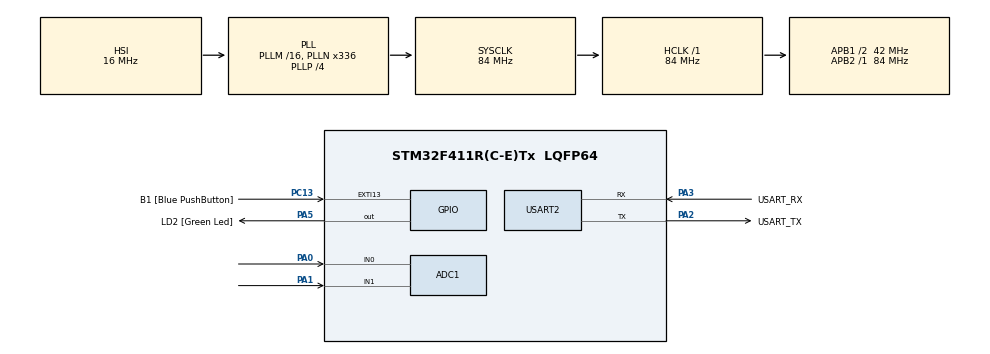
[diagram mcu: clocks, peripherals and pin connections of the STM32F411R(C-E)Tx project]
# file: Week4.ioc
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Mcu.Family=STM32F4
RCC.CortexFreq_Value=84000000
VP_ADC1_TempSens_Input.Mode=IN-TempSens
ADC1.ContinuousConvMode=ENABLE
PA14.GPIO_Label=TCK
RCC.SYSCLKSource=RCC_SYSCLKSOURCE_PLLCLK
ProjectManager.StackSize=0x400
NVIC.ADC_IRQn=true\:0\:0\:false\:false\:true\:true\:true
PH0\ -\ OSC_IN.Signal=RCC_OSC_IN
ADC1.Channel-3\#ChannelRegularConversion=ADC_CHANNEL_VREFINT
RCC.HCLKFreq_Value=84000000
RCC.APB2TimFreq_Value=84000000
Dma.ADC1.0.Direction=DMA_PERIPH_TO_MEMORY
ADC1.Channel-2\#ChannelRegularConversion=ADC_CHANNEL_TEMPSENSOR
ADC1.InjNumberOfConversion=0
NVIC.DMA2_Stream0_IRQn=true\:0\:0\:false\:false\:true\:false\:true
Dma.ADC1.0.MemDataAlignment=DMA_MDATAALIGN_WORD
RCC.AHBFreq_Value=84000000
NVIC.EXTI15_10_IRQn=true\:0\:0\:false\:false\:true\:true\:true
ADC1.Channel-0\#ChannelRegularConversion=ADC_CHANNEL_0
RCC.HSE_VALUE=8000000
ADC1.ScanConvMode=ENABLE
PC13-ANTI_TAMP.Signal=GPXTI13
VP_ADC1_Vref_Input.Mode=IN-Vrefint
ADC1.Rank-2\#ChannelRegularConversion=3
PC14-OSC32_IN.Mode=LSE-External-Oscillator
PA14.Mode=Serial_Wire
Dma.ADC1.0.PeriphInc=DMA_PINC_DISABLE
SH.ADCx_IN0.0=ADC1_IN0,IN0
ADC1.SamplingTime-0\#ChannelRegularConversion=ADC_SAMPLETIME_480CYCLES
RCC.FLatency-AdvancedSettings=FLASH_LATENCY_2
Mcu.Package=LQFP64
USART2.VirtualMode=VM_ASYNC
PA2.GPIO_Label=USART_TX
SH.ADCx_IN1.0=ADC1_IN1,IN1
RCC.APB1TimFreq_Value=84000000
Dma.ADC1.0.FIFOMode=DMA_FIFOMODE_DISABLE
Dma.Request0=ADC1
PA3.Signal=USART2_RX
PB3.GPIO_Label=SWO
PC15-OSC32_OUT.Mode=LSE-External-Oscillator
Dma.ADC1.0.Instance=DMA2_Stream0
ADC1.Rank-0\#ChannelRegularConversion=1
PC13-ANTI_TAMP.GPIO_PuPd=GPIO_PULLUP
PC13-ANTI_TAMP.GPIO_Label=B1 [Blue PushButton]
PH1\ -\ OSC_OUT.Mode=HSE-External-Clock-Source
RCC.APB1CLKDivider=RCC_HCLK_DIV2
PC14-OSC32_IN.Signal=RCC_OSC32_IN
ADC1.SamplingTime-2\#ChannelRegularConversion=ADC_SAMPLETIME_480CYCLES
PA0-WKUP.Signal=ADCx_IN0
PA13.Signal=SYS_JTMS-SWDIO
PA3.Mode=Asynchronous
Dma.ADC1.0.PeriphDataAlignment=DMA_PDATAALIGN_WORD
PH0\ -\ OSC_IN.Mode=HSE-External-Clock-Source
ProjectManager.TargetToolchain=STM32CubeIDE
Dma.ADC1.0.Mode=DMA_CIRCULAR
Dma.ADC1.0.Priority=DMA_PRIORITY_LOW
ADC1.Channel-1\#ChannelRegularConversion=ADC_CHANNEL_1
PC15-OSC32_OUT.Signal=RCC_OSC32_OUT
PA1.Signal=ADCx_IN1
PA5.Signal=GPIO_Output
PH1\ -\ OSC_OUT.Signal=RCC_OSC_OUT
board=NUCLEO-F411RE
RCC.VCOOutputFreq_Value=336000000
RCC.APB2Freq_Value=84000000
ADC1.DMAContinuousRequests=ENABLE
ADC1.NbrOfConversion=4
PA13.Mode=Serial_Wire
Mcu.Name=STM32F411R(C-E)Tx
PA13.GPIO_Label=TMS
PA2.Signal=USART2_TX
ADC1.ExternalTrigConv=ADC_SOFTWARE_START
RCC.48MHZClocksFreq_Value=84000000
PB3.Signal=SYS_JTDO-SWO
ADC1.SamplingTime-1\#ChannelRegularConversion=ADC_SAMPLETIME_480CYCLES
RCC.SYSCLKFreq_VALUE=84000000
ADC1.master=1
PA5.GPIO_Label=LD2 [Green Led]
ADC1.Rank-3\#ChannelRegularConversion=4
ADC1.SamplingTime-3\#ChannelRegularConversion=ADC_SAMPLETIME_480CYCLES
ADC1.Rank-1\#ChannelRegularConversion=2
PC13-ANTI_TAMP.GPIO_ModeDefaultEXTI=GPIO_MODE_IT_RISING_FALLING
PA14.Signal=SYS_JTCK-SWCLK
Dma.ADC1.0.MemInc=DMA_MINC_ENABLE
ProjectManager.HeapSize=0x200
RCC.HSI_VALUE=16000000
RCC.PLLP=RCC_PLLP_DIV4
NVIC.PriorityGroup=NVIC_PRIORITYGROUP_0
ADC1.NbrOfConversionFlag=1
RCC.PLLN=336
PA2.Mode=Asynchronous
RCC.APB1Freq_Value=42000000
PA3.GPIO_Label=USART_RX

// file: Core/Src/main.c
/* USER CODE BEGIN Header */
/**
  ******************************************************************************
  * @file           : main.c
  * @brief          : Main program body
  ******************************************************************************
  * @attention
  *
  * <h2><center>&copy; Copyright (c) 2021 STMicroelectronics.
  * All rights reserved.</center></h2>
  *
  * This software component is licensed by ST under BSD 3-Clause license,
  * the "License"; You may not use this file except in compliance with the
  * License. You may obtain a copy of the License at:
  *                        opensource.org/licenses/BSD-3-Clause
  *
  ******************************************************************************
  */
/* USER CODE END Header */
#include "main.h"

ADC_HandleTypeDef hadc1;
DMA_HandleTypeDef hdma_adc1;

UART_HandleTypeDef huart2;

/* USER CODE BEGIN PV */

uint32_t ADCData[4] = {0};
uint32_t GetData[2] = {0};
uint32_t ref = 0;
uint32_t TimeStamp = 0;
uint32_t push = 0;
uint32_t mode = 0;

/* USER CODE END PV */

void SystemClock_Config(void);
static void MX_GPIO_Init(void);
static void MX_DMA_Init(void);
static void MX_USART2_UART_Init(void);
static void MX_ADC1_Init(void);

int main(void)
{

  /* MCU Configuration--------------------------------------------------------*/

  /* Reset of all peripherals, Initializes the Flash interface and the Systick. */
  HAL_Init();

  /* Configure the system clock */
  SystemClock_Config();

  /* Initialize all configured peripherals */
  MX_GPIO_Init();
  MX_DMA_Init();
  MX_USART2_UART_Init();
  MX_ADC1_Init();
  /* USER CODE BEGIN 2 */
  HAL_ADC_Start_DMA(&hadc1, ADCData, 4);
  /* USER CODE END 2 */

  /* Infinite loop */
  /* USER CODE BEGIN WHILE */
  while (1)
  {
	  GetData[1] = ADCData[1];
	  GetData[0] = ADCData[0];
    /* USER CODE END WHILE */

    /* USER CODE BEGIN 3 */

	  if(mode == 1)
	  {
		  if(HAL_GetTick() - TimeStamp >= ref)
		  {
			  HAL_GPIO_WritePin(LD2_GPIO_Port, LD2_Pin, GPIO_PIN_SET);
			  TimeStamp = HAL_GetTick();
			  mode = 2;
		  }
	  }
  }
  /* USER CODE END 3 */
}

void SystemClock_Config(void)
{
  RCC_OscInitTypeDef RCC_OscInitStruct = {0};
  RCC_ClkInitTypeDef RCC_ClkInitStruct = {0};

  /** Configure the main internal regulator output voltage
  */
  __HAL_RCC_PWR_CLK_ENABLE();
  __HAL_PWR_VOLTAGESCALING_CONFIG(PWR_REGULATOR_VOLTAGE_SCALE1);
  /** Initializes the RCC Oscillators according to the specified parameters
  * in the RCC_OscInitTypeDef structure.
  */
  RCC_OscInitStruct.OscillatorType = RCC_OSCILLATORTYPE_HSI;
  RCC_OscInitStruct.HSIState = RCC_HSI_ON;
  RCC_OscInitStruct.HSICalibrationValue = RCC_HSICALIBRATION_DEFAULT;
  RCC_OscInitStruct.PLL.PLLState = RCC_PLL_ON;
  RCC_OscInitStruct.PLL.PLLSource = RCC_PLLSOURCE_HSI;
  RCC_OscInitStruct.PLL.PLLM = 16;
  RCC_OscInitStruct.PLL.PLLN = 336;
  RCC_OscInitStruct.PLL.PLLP = RCC_PLLP_DIV4;
  RCC_OscInitStruct.PLL.PLLQ = 4;
  if (HAL_RCC_OscConfig(&RCC_OscInitStruct) != HAL_OK)
  {
    Error_Handler();
  }
  /** Initializes the CPU, AHB and APB buses clocks
  */
  RCC_ClkInitStruct.ClockType = RCC_CLOCKTYPE_HCLK|RCC_CLOCKTYPE_SYSCLK
                              |RCC_CLOCKTYPE_PCLK1|RCC_CLOCKTYPE_PCLK2;
  RCC_ClkInitStruct.SYSCLKSource = RCC_SYSCLKSOURCE_PLLCLK;
  RCC_ClkInitStruct.AHBCLKDivider = RCC_SYSCLK_DIV1;
  RCC_ClkInitStruct.APB1CLKDivider = RCC_HCLK_DIV2;
  RCC_ClkInitStruct.APB2CLKDivider = RCC_HCLK_DIV1;

  if (HAL_RCC_ClockConfig(&RCC_ClkInitStruct, FLASH_LATENCY_2) != HAL_OK)
  {
    Error_Handler();
  }
}

static void MX_ADC1_Init(void)
{

  ADC_ChannelConfTypeDef sConfig = {0};

  /** Configure the global features of the ADC (Clock, Resolution, Data Alignment and number of conversion)
  */
  hadc1.Instance = ADC1;
  hadc1.Init.ClockPrescaler = ADC_CLOCK_SYNC_PCLK_DIV4;
  hadc1.Init.Resolution = ADC_RESOLUTION_12B;
  hadc1.Init.ScanConvMode = ENABLE;
  hadc1.Init.ContinuousConvMode = ENABLE;
  hadc1.Init.DiscontinuousConvMode = DISABLE;
  hadc1.Init.ExternalTrigConvEdge = ADC_EXTERNALTRIGCONVEDGE_NONE;
  hadc1.Init.ExternalTrigConv = ADC_SOFTWARE_START;
  hadc1.Init.DataAlign = ADC_DATAALIGN_RIGHT;
  hadc1.Init.NbrOfConversion = 4;
  hadc1.Init.DMAContinuousRequests = ENABLE;
  hadc1.Init.EOCSelection = ADC_EOC_SINGLE_CONV;
  if (HAL_ADC_Init(&hadc1) != HAL_OK)
  {
    Error_Handler();
  }
  /** Configure for the selected ADC regular channel its corresponding rank in the sequencer and its sample time.
  */
  sConfig.Channel = ADC_CHANNEL_0;
  sConfig.Rank = 1;
  sConfig.SamplingTime = ADC_SAMPLETIME_480CYCLES;
  if (HAL_ADC_ConfigChannel(&hadc1, &sConfig) != HAL_OK)
  {
    Error_Handler();
  }
  /** Configure for the selected ADC regular channel its corresponding rank in the sequencer and its sample time.
  */
  sConfig.Channel = ADC_CHANNEL_1;
  sConfig.Rank = 2;
  if (HAL_ADC_ConfigChannel(&hadc1, &sConfig) != HAL_OK)
  {
    Error_Handler();
  }
  /** Configure for the selected ADC regular channel its corresponding rank in the sequencer and its sample time.
  */
  sConfig.Channel = ADC_CHANNEL_TEMPSENSOR;
  sConfig.Rank = 3;
  if (HAL_ADC_ConfigChannel(&hadc1, &sConfig) != HAL_OK)
  {
    Error_Handler();
  }
  /** Configure for the selected ADC regular channel its corresponding rank in the sequencer and its sample time.
  */
  sConfig.Channel = ADC_CHANNEL_VREFINT;
  sConfig.Rank = 4;
  if (HAL_ADC_ConfigChannel(&hadc1, &sConfig) != HAL_OK)
  {
    Error_Handler();
  }

}

static void MX_USART2_UART_Init(void)
{

  huart2.Instance = USART2;
  huart2.Init.BaudRate = 115200;
  huart2.Init.WordLength = UART_WORDLENGTH_8B;
  huart2.Init.StopBits = UART_STOPBITS_1;
  huart2.Init.Parity = UART_PARITY_NONE;
  huart2.Init.Mode = UART_MODE_TX_RX;
  huart2.Init.HwFlowCtl = UART_HWCONTROL_NONE;
  huart2.Init.OverSampling = UART_OVERSAMPLING_16;
  if (HAL_UART_Init(&huart2) != HAL_OK)
  {
    Error_Handler();
  }

}

static void MX_DMA_Init(void)
{

  /* DMA controller clock enable */
  __HAL_RCC_DMA2_CLK_ENABLE();

  /* DMA interrupt init */
  /* DMA2_Stream0_IRQn interrupt configuration */
  HAL_NVIC_SetPriority(DMA2_Stream0_IRQn, 0, 0);
  HAL_NVIC_EnableIRQ(DMA2_Stream0_IRQn);

}

static void MX_GPIO_Init(void)
{
  GPIO_InitTypeDef GPIO_InitStruct = {0};

  /* GPIO Ports Clock Enable */
  __HAL_RCC_GPIOC_CLK_ENABLE();
  __HAL_RCC_GPIOH_CLK_ENABLE();
  __HAL_RCC_GPIOA_CLK_ENABLE();
  __HAL_RCC_GPIOB_CLK_ENABLE();

  /*Configure GPIO pin Output Level */
  HAL_GPIO_WritePin(LD2_GPIO_Port, LD2_Pin, GPIO_PIN_RESET);

  /*Configure GPIO pin : B1_Pin */
  GPIO_InitStruct.Pin = B1_Pin;
  GPIO_InitStruct.Mode = GPIO_MODE_IT_RISING_FALLING;
  GPIO_InitStruct.Pull = GPIO_PULLUP;
  HAL_GPIO_Init(B1_GPIO_Port, &GPIO_InitStruct);

  /*Configure GPIO pin : LD2_Pin */
  GPIO_InitStruct.Pin = LD2_Pin;
  GPIO_InitStruct.Mode = GPIO_MODE_OUTPUT_PP;
  GPIO_InitStruct.Pull = GPIO_NOPULL;
  GPIO_InitStruct.Speed = GPIO_SPEED_FREQ_LOW;
  HAL_GPIO_Init(LD2_GPIO_Port, &GPIO_InitStruct);

  /* EXTI interrupt init*/
  HAL_NVIC_SetPriority(EXTI15_10_IRQn, 0, 0);
  HAL_NVIC_EnableIRQ(EXTI15_10_IRQn);

}

/* USER CODE BEGIN 4 */
void HAL_GPIO_EXTI_Callback(uint16_t GPIO_Pin)
{
	if(GPIO_Pin == GPIO_PIN_13)
	{
		if(mode == 0)
		{
			ref = (1000 + ((22695477 * GetData[0]) + GetData[1]) % 10000);
			HAL_GPIO_WritePin(LD2_GPIO_Port, LD2_Pin, GPIO_PIN_RESET);
			TimeStamp = HAL_GetTick();
			push = 0;
			mode = 1;
		}
		else if(mode == 2)
		{
			push = HAL_GetTick() - TimeStamp;
			mode = 0;
		}
		else if(mode == 1)
		{
			HAL_GPIO_WritePin(LD2_GPIO_Port, LD2_Pin, GPIO_PIN_SET);
			mode = 0;
		}

	}
}
/* USER CODE END 4 */

void Error_Handler(void)
{
  __disable_irq();
  while (1)
  {
  }
}

/************************ (C) COPYRIGHT STMicroelectronics *****END OF FILE****/
